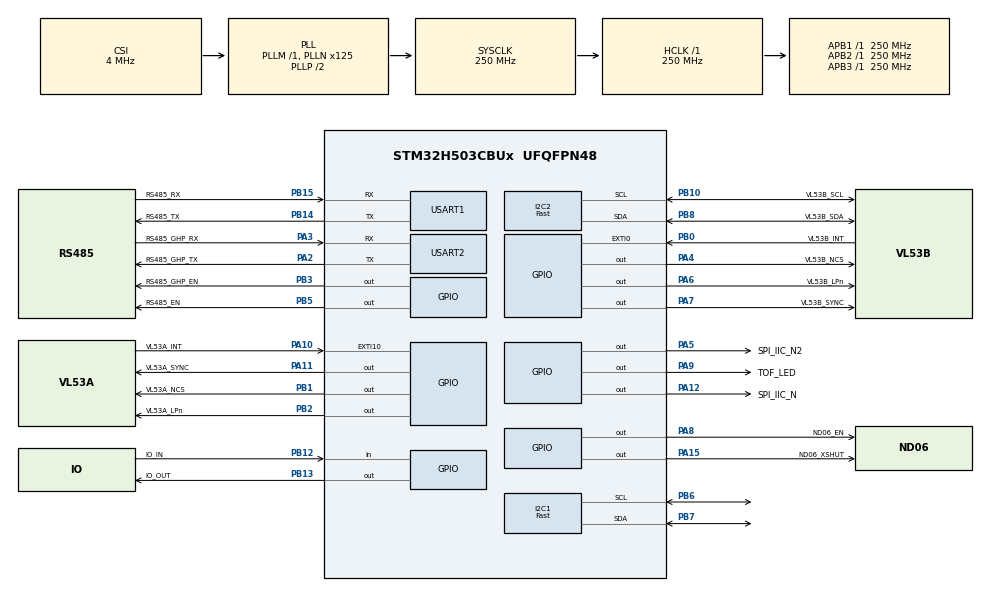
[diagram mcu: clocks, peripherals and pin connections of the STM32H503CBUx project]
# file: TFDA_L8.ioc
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BOOTPATH.BootPathName=LEGACY
BOOTPATH.UserSelectedBootPath=LEGACY
I2C1.Analog_Filter=I2C_ANALOGFILTER_DISABLE
I2C1.I2C_Fall_Time=92
I2C1.I2C_Rise_Time=162
I2C1.I2C_Speed_Mode=I2C_Fast
I2C1.Timing=0x0080182A
I2C2.I2C_Speed_Mode=I2C_Fast
I2C2.Timing=0x00300F38
Mcu.Family=STM32H5
Mcu.Name=STM32H503CBUx
Mcu.Package=UFQFPN48
NVIC.EXTI0_IRQn=true\:0\:0\:false\:false\:true\:true\:true\:true
NVIC.EXTI10_IRQn=true\:0\:0\:false\:false\:true\:true\:true\:true
NVIC.PriorityGroup=NVIC_PRIORITYGROUP_4
NVIC.USART1_IRQn=true\:2\:0\:true\:false\:true\:true\:true\:true
NVIC.USART2_IRQn=true\:0\:0\:true\:false\:true\:true\:true\:true
PA10.GPIO_Label=VL53A_INT
PA10.Signal=GPXTI10
PA11.GPIO_Label=VL53A_SYNC
PA11.Signal=GPIO_Output
PA12.GPIO_Label=SPI_IIC_N
PA12.Signal=GPIO_Output
PA15(JTDI).GPIO_Label=ND06_XSHUT
PA15(JTDI).Signal=GPIO_Output
PA2.GPIO_Label=RS485_GHP_TX
PA2.GPIO_ModeDefaultPP=GPIO_MODE_AF_PP
PA2.GPIO_PuPd=GPIO_NOPULL
PA2.GPIO_Speed=GPIO_SPEED_FREQ_LOW
PA2.Mode=Asynchronous
PA2.Signal=USART2_TX
PA3.GPIO_Label=RS485_GHP_RX
PA3.GPIO_ModeDefaultPP=GPIO_MODE_AF_PP
PA3.GPIO_PuPd=GPIO_NOPULL
PA3.GPIO_Speed=GPIO_SPEED_FREQ_LOW
PA3.Mode=Asynchronous
PA3.Signal=USART2_RX
PA4.GPIO_Label=VL53B_NCS
PA4.Signal=GPIO_Output
PA5.GPIO_Label=SPI_IIC_N2
PA5.Signal=GPIO_Output
PA6.GPIO_Label=VL53B_LPn
PA6.Signal=GPIO_Output
PA7.GPIO_Label=VL53B_SYNC
PA7.Signal=GPIO_Output
PA8.GPIO_Label=ND06_EN
PA8.Signal=GPIO_Output
PA9.GPIO_Label=TOF_LED
PA9.PinState=GPIO_PIN_SET
PA9.Signal=GPIO_Output
PB0.GPIO_Label=VL53B_INT
PB0.GPIO_ModeDefaultEXTI=GPIO_MODE_IT_FALLING
PB0.Signal=GPXTI0
PB1.GPIO_Label=VL53A_NCS
PB1.Signal=GPIO_Output
PB10.GPIO_Label=VL53B_SCL
PB10.Mode=I2C
PB10.Signal=I2C2_SCL
PB12.GPIO_Label=IO_IN
PB12.Signal=GPIO_Input
PB13.GPIO_Label=IO_OUT
PB13.GPIO_Speed=GPIO_SPEED_FREQ_HIGH
PB13.PinState=GPIO_PIN_SET
PB13.Signal=GPIO_Output
PB14.GPIO_Label=RS485_TX
PB14.GPIO_ModeDefaultPP=GPIO_MODE_AF_PP
PB14.GPIO_PuPd=GPIO_NOPULL
PB14.GPIO_Speed=GPIO_SPEED_FREQ_LOW
PB14.Mode=Asynchronous
PB14.Signal=USART1_TX
PB15.GPIO_Label=RS485_RX
PB15.GPIO_ModeDefaultPP=GPIO_MODE_AF_PP
PB15.GPIO_PuPd=GPIO_NOPULL
PB15.GPIO_Speed=GPIO_SPEED_FREQ_LOW
PB15.Mode=Asynchronous
PB15.Signal=USART1_RX
PB2.GPIO_Label=VL53A_LPn
PB2.Signal=GPIO_Output
PB3(JTDO/TRACESWO).GPIO_Label=RS485_GHP_EN
PB3(JTDO/TRACESWO).GPIO_Speed=GPIO_SPEED_FREQ_HIGH
PB3(JTDO/TRACESWO).Signal=GPIO_Output
PB5.GPIO_Label=RS485_EN
PB5.GPIO_PuPd=GPIO_PULLUP
PB5.GPIO_Speed=GPIO_SPEED_FREQ_HIGH
PB5.Signal=GPIO_Output
PB6.Mode=I2C
PB6.Signal=I2C1_SCL
PB7.Mode=I2C
PB7.Signal=I2C1_SDA
PB8.GPIO_Label=VL53B_SDA
PB8.Mode=I2C
PB8.Signal=I2C2_SDA
ProjectManager.HeapSize=0x200
ProjectManager.StackSize=0x400
ProjectManager.TargetToolchain=MDK-ARM V5.37
RCC.ADCFreq_Value=250000000
RCC.AHBFreq_Value=250000000
RCC.APB1Freq_Value=250000000
RCC.APB1TimFreq_Value=250000000
RCC.APB2Freq_Value=250000000
RCC.APB2TimFreq_Value=250000000
RCC.APB3Freq_Value=250000000
RCC.CSI_VALUE=4000000
RCC.CortexFreq_Value=250000000
RCC.EPOD_VALUE=4000000
RCC.HCLKFreq_Value=250000000
RCC.HSE_VALUE=25000000
RCC.HSI48_VALUE=48000000
RCC.HSI_VALUE=64000000
RCC.I2C1CLockSelection=RCC_I2C1CLKSOURCE_HSI
RCC.I2C2CLockSelection=RCC_I2C2CLKSOURCE_HSI
RCC.LSE_VALUE=32768
RCC.LSIRC_VALUE=32000
RCC.PLLFRACN=0
RCC.PLLN=125
RCC.SYSCLKFreq_VALUE=250000000
RCC.SYSCLKSource=RCC_SYSCLKSOURCE_PLLCLK
RCC.USBFreq_Value=48000000
RCC.VCOOutputFreq_Value=500000000
USART1.OverrunDisableParam=ADVFEATURE_OVERRUN_DISABLE
USART1.Parity=PARITY_EVEN
USART1.VirtualMode-Asynchronous=VM_ASYNC
USART1.WordLength=WORDLENGTH_9B
USART2.OverrunDisableParam=ADVFEATURE_OVERRUN_DISABLE
USART2.VirtualMode-Asynchronous=VM_ASYNC
VP_BOOTPATH_VS_BOOTPATH.Mode=BP_Activate
VP_CORTEX_M33_NS_VS_Hclk.Mode=Hclk_Mode
VP_ICACHE_VS_ICACHE.Mode=DirectMappedCache
VP_MEMORYMAP_VS_MEMORYMAP.Mode=CurAppReg
VP_PWR_VS_DBSignals.Mode=DisableDeadBatterySignals
VP_PWR_VS_LPOM.Mode=PowerOptimisation
VP_PWR_VS_SECSignals.Mode=Security/Privilege
VP_RTC_VS_RTC_Activate.Mode=RTC_Enabled
board=custom

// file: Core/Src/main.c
/* USER CODE BEGIN Header */
/**
  ******************************************************************************
  * @file           : main.c
  * @brief          : Main program body
  ******************************************************************************
  * @attention
  *
  * Copyright (c) 2026 STMicroelectronics.
  * All rights reserved.
  *
  * This software is licensed under terms that can be found in the LICENSE file
  * in the root directory of this software component.
  * If no LICENSE file comes with this software, it is provided AS-IS.
  *
  ******************************************************************************
  */
/* USER CODE END Header */
#include "main.h"
#include "i2c.h"
#include "icache.h"
#include "rtc.h"
#include "usart.h"
#include "gpio.h"

/* USER CODE BEGIN Includes */
#include "vl53l8cx_api.h"
#include "Example.h"

#include "vl53l8cx_app.h"

#include "nd06av1c_comm.h"
#include "nd06av1c_data.h"
#include "nd06av1c_def.h"
#include "nd06av1c_dev.h"
#include "platform.h"

#include "sensorParaTable.h"
#include "rs485.h"
#include <string.h>
/* USER CODE END Includes */

/* USER CODE BEGIN PV */
volatile int IntCount;
ND06_DATA nd06_data = {{0, 0, 0, 0, 0, 0, 0, 0, 0, 0, 0, 0, 0, 0, 0, 0}, {0, 0, 0, 0, 0, 0, 0, 0, 0, 0, 0, 0, 0, 0, 0, 0}};

/* USER CODE END PV */

void SystemClock_Config(void);
/* USER CODE BEGIN PFP */
void HAL_GPIO_EXTI_Falling_Callback(uint16_t GPIO_Pin)
{
	if (GPIO_Pin==VL53B_INT_Pin)
	{
		IntCount++;
	}

}
/* USER CODE END PFP */

/* USER CODE BEGIN 0 */
uint8_t num_of_pixel_occluded , work_j, nd06OutputEN, nd06AV1C_objDetectFlag, ObjectIsDetectedFlag, nb_target, current_vl_resl;
uint8_t timesND06Failed = 0;
uint32_t ret;

VL53L8CX_ResultsData 	Results;
/* USER CODE END 0 */

int main(void)
{

  /* USER CODE BEGIN 1 */
		VL53L8CX_Platform platform_sensor1 = {
			.address = 0x52,              // 传感器1的I2C地址
			.hi2c = &hi2c1,
			.lpn_port = VL53A_LPn_GPIO_Port,
			.lpn_pin = VL53A_LPn_Pin,
			.sync_port = VL53A_SYNC_GPIO_Port,
			.sync_pin = VL53A_SYNC_Pin
	};

	VL53L8CX_Platform platform_sensor2 = {
			.address = 0x52,              // 传感器2的I2C地址（需硬件配置）
			.hi2c = &hi2c2,
			.lpn_port = VL53B_LPn_GPIO_Port,
			.lpn_pin = VL53B_LPn_Pin,
			.sync_port = VL53B_SYNC_GPIO_Port,
			.sync_pin = VL53B_SYNC_Pin
	};

	static VL53L8CX_Configuration 	Dev1, Dev2;
	Dev1.platform  = platform_sensor1;
	Dev2.platform  = platform_sensor2;
	nb_target = 2;
	current_vl_resl = 4;
  /* USER CODE END 1 */

  /* MCU Configuration--------------------------------------------------------*/

  /* Reset of all peripherals, Initializes the Flash interface and the Systick. */
  HAL_Init();

  /* Configure the system clock */
  SystemClock_Config();

  /* Initialize all configured peripherals */
  MX_GPIO_Init();
  MX_ICACHE_Init();
  MX_RTC_Init();
  MX_I2C1_Init();
  MX_USART1_UART_Init();
  MX_USART2_UART_Init();
  MX_I2C2_Init();
  /* USER CODE BEGIN 2 */
	paraTable_Init();

//	ND06AV1C_OFF();
//	ND06AV1C_ON();
//	HAL_Delay(2000);
//	ND06AV1C_Init();

	vl53cx8_device_init(&Dev2, current_vl_resl, 10);

	RS485_PDA_RX_ENABLE();
  HAL_UART_Receive_IT(&RS485_PDA_USART, rxDBuffPDA, 1);

	RS485_Elevator_Init();

  /* USER CODE END 2 */

  /* Infinite loop */
  while (1)
  {

    /* USER CODE BEGIN 3 */
//		if (TIME_1MS_FLAG == 1)
//		{
//			TIME_1MS_FLAG = 0;
//		}
//		if (TIME_5MS_FLAG == 1)
//		{
//			TIME_5MS_FLAG = 0;
//
//		}
		if (TIME_10MS_FLAG == 1)
		{
			TIME_10MS_FLAG = 0;

//			vl53cx8_ranging_data(&Dev, &Results);
//			process_second_targets(&Results, PARA_TABLE_USE.data.nd06StudyDistance,
//															PARA_TABLE_USE.data.nd06DistanceChkThreshold,
//															&ObjectIsDetectedFlag);

//			ND06AV1C_Ranging(&nd06_data, 0, work_j, &nd06AV1C_objDetectFlag);
		}
		if (TIME_100MS_FLAG == 1)
		{
			TIME_100MS_FLAG = 0;
			vl53cx8_ranging_data(&Dev2, &Results);
		}

  }
  /* USER CODE END 3 */
}

void SystemClock_Config(void)
{
  RCC_OscInitTypeDef RCC_OscInitStruct = {0};
  RCC_ClkInitTypeDef RCC_ClkInitStruct = {0};

  /** Configure the main internal regulator output voltage
  */
  __HAL_PWR_VOLTAGESCALING_CONFIG(PWR_REGULATOR_VOLTAGE_SCALE0);

  while(!__HAL_PWR_GET_FLAG(PWR_FLAG_VOSRDY)) {}

  /** Initializes the RCC Oscillators according to the specified parameters
  * in the RCC_OscInitTypeDef structure.
  */
  RCC_OscInitStruct.OscillatorType = RCC_OSCILLATORTYPE_HSI|RCC_OSCILLATORTYPE_LSI
                              |RCC_OSCILLATORTYPE_CSI;
  RCC_OscInitStruct.HSIState = RCC_HSI_ON;
  RCC_OscInitStruct.HSIDiv = RCC_HSI_DIV2;
  RCC_OscInitStruct.HSICalibrationValue = RCC_HSICALIBRATION_DEFAULT;
  RCC_OscInitStruct.LSIState = RCC_LSI_ON;
  RCC_OscInitStruct.CSIState = RCC_CSI_ON;
  RCC_OscInitStruct.CSICalibrationValue = RCC_CSICALIBRATION_DEFAULT;
  RCC_OscInitStruct.PLL.PLLState = RCC_PLL_ON;
  RCC_OscInitStruct.PLL.PLLSource = RCC_PLL1_SOURCE_CSI;
  RCC_OscInitStruct.PLL.PLLM = 1;
  RCC_OscInitStruct.PLL.PLLN = 125;
  RCC_OscInitStruct.PLL.PLLP = 2;
  RCC_OscInitStruct.PLL.PLLQ = 2;
  RCC_OscInitStruct.PLL.PLLR = 2;
  RCC_OscInitStruct.PLL.PLLRGE = RCC_PLL1_VCIRANGE_2;
  RCC_OscInitStruct.PLL.PLLVCOSEL = RCC_PLL1_VCORANGE_WIDE;
  RCC_OscInitStruct.PLL.PLLFRACN = 0;
  if (HAL_RCC_OscConfig(&RCC_OscInitStruct) != HAL_OK)
  {
    Error_Handler();
  }

  /** Initializes the CPU, AHB and APB buses clocks
  */
  RCC_ClkInitStruct.ClockType = RCC_CLOCKTYPE_HCLK|RCC_CLOCKTYPE_SYSCLK
                              |RCC_CLOCKTYPE_PCLK1|RCC_CLOCKTYPE_PCLK2
                              |RCC_CLOCKTYPE_PCLK3;
  RCC_ClkInitStruct.SYSCLKSource = RCC_SYSCLKSOURCE_PLLCLK;
  RCC_ClkInitStruct.AHBCLKDivider = RCC_SYSCLK_DIV1;
  RCC_ClkInitStruct.APB1CLKDivider = RCC_HCLK_DIV1;
  RCC_ClkInitStruct.APB2CLKDivider = RCC_HCLK_DIV1;
  RCC_ClkInitStruct.APB3CLKDivider = RCC_HCLK_DIV1;

  if (HAL_RCC_ClockConfig(&RCC_ClkInitStruct, FLASH_LATENCY_5) != HAL_OK)
  {
    Error_Handler();
  }

  /** Configure the programming delay
  */
  __HAL_FLASH_SET_PROGRAM_DELAY(FLASH_PROGRAMMING_DELAY_2);
}

void Error_Handler(void)
{
  __disable_irq();
  while (1)
  {
  }
}
